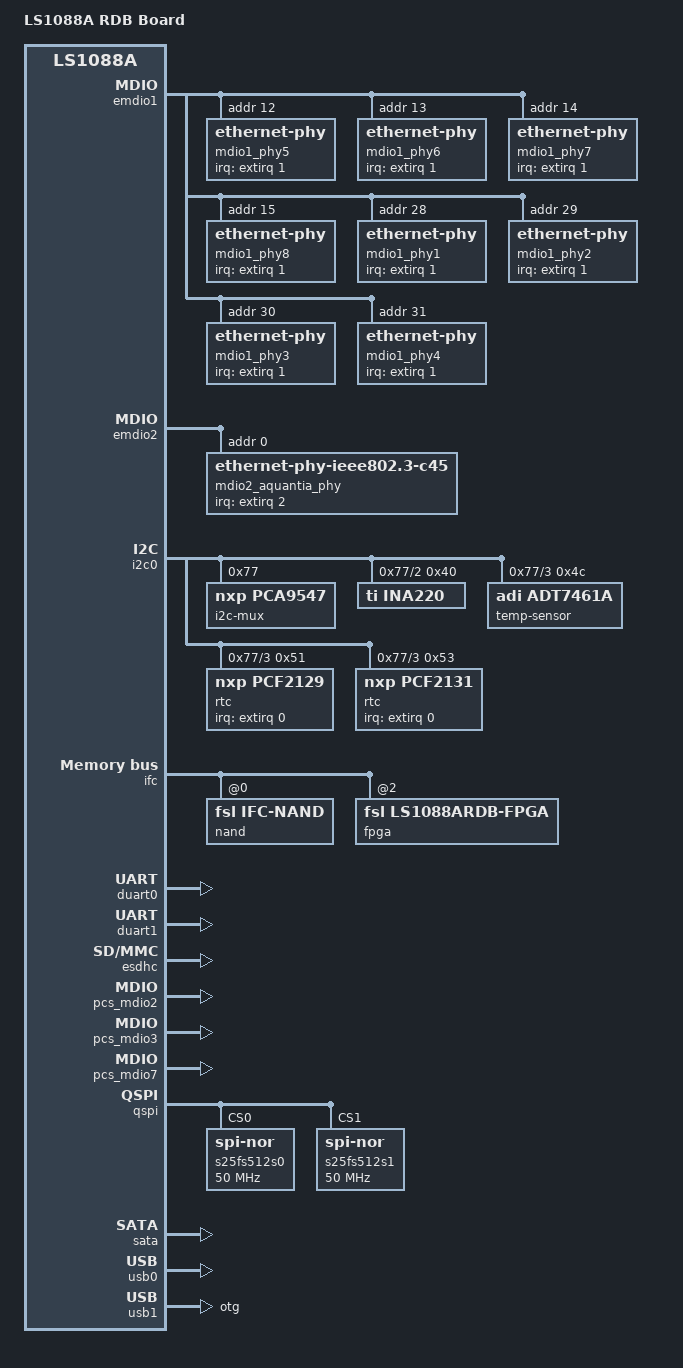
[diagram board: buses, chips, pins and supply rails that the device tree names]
// SPDX-License-Identifier: (GPL-2.0+ OR MIT)
/*
 * Device Tree file for NXP LS1088A RDB Board.
 *
 * Copyright 2017-2020 NXP
 *
 * Harninder Rai <harninder.rai@nxp.com>
 *
 */

/dts-v1/;

#include "fsl-ls1088a.dtsi"

/ {
	model = "LS1088A RDB Board";
	compatible = "fsl,ls1088a-rdb", "fsl,ls1088a";
};

&dpmac2 {
	phy-handle = <&mdio2_aquantia_phy>;
	phy-connection-type = "10gbase-r";
	pcs-handle = <&pcs2>;
};

&dpmac3 {
	phy-handle = <&mdio1_phy5>;
	phy-connection-type = "qsgmii";
	managed = "in-band-status";
	pcs-handle = <&pcs3_0>;
};

&dpmac4 {
	phy-handle = <&mdio1_phy6>;
	phy-connection-type = "qsgmii";
	managed = "in-band-status";
	pcs-handle = <&pcs3_1>;
};

&dpmac5 {
	phy-handle = <&mdio1_phy7>;
	phy-connection-type = "qsgmii";
	managed = "in-band-status";
	pcs-handle = <&pcs3_2>;
};

&dpmac6 {
	phy-handle = <&mdio1_phy8>;
	phy-connection-type = "qsgmii";
	managed = "in-band-status";
	pcs-handle = <&pcs3_3>;
};

&dpmac7 {
	phy-handle = <&mdio1_phy1>;
	phy-connection-type = "qsgmii";
	managed = "in-band-status";
	pcs-handle = <&pcs7_0>;
};

&dpmac8 {
	phy-handle = <&mdio1_phy2>;
	phy-connection-type = "qsgmii";
	managed = "in-band-status";
	pcs-handle = <&pcs7_1>;
};

&dpmac9 {
	phy-handle = <&mdio1_phy3>;
	phy-connection-type = "qsgmii";
	managed = "in-band-status";
	pcs-handle = <&pcs7_2>;
};

&dpmac10 {
	phy-handle = <&mdio1_phy4>;
	phy-connection-type = "qsgmii";
	managed = "in-band-status";
	pcs-handle = <&pcs7_3>;
};

&emdio1 {
	status = "okay";

	mdio1_phy5: ethernet-phy@c {
		interrupts-extended = <&extirq 1 IRQ_TYPE_LEVEL_LOW>;
		reg = <0xc>;
	};

	mdio1_phy6: ethernet-phy@d {
		interrupts-extended = <&extirq 1 IRQ_TYPE_LEVEL_LOW>;
		reg = <0xd>;
	};

	mdio1_phy7: ethernet-phy@e {
		interrupts-extended = <&extirq 1 IRQ_TYPE_LEVEL_LOW>;
		reg = <0xe>;
	};

	mdio1_phy8: ethernet-phy@f {
		interrupts-extended = <&extirq 1 IRQ_TYPE_LEVEL_LOW>;
		reg = <0xf>;
	};

	mdio1_phy1: ethernet-phy@1c {
		interrupts-extended = <&extirq 1 IRQ_TYPE_LEVEL_LOW>;
		reg = <0x1c>;
	};

	mdio1_phy2: ethernet-phy@1d {
		interrupts-extended = <&extirq 1 IRQ_TYPE_LEVEL_LOW>;
		reg = <0x1d>;
	};

	mdio1_phy3: ethernet-phy@1e {
		interrupts-extended = <&extirq 1 IRQ_TYPE_LEVEL_LOW>;
		reg = <0x1e>;
	};

	mdio1_phy4: ethernet-phy@1f {
		interrupts-extended = <&extirq 1 IRQ_TYPE_LEVEL_LOW>;
		reg = <0x1f>;
	};
};

&emdio2 {
	status = "okay";

	mdio2_aquantia_phy: ethernet-phy@0 {
		compatible = "ethernet-phy-ieee802.3-c45";
		interrupts-extended = <&extirq 2 IRQ_TYPE_LEVEL_LOW>;
		reg = <0x0>;
	};
};

&i2c0 {
	status = "okay";

	i2c-mux@77 {
		compatible = "nxp,pca9547";
		reg = <0x77>;
		#address-cells = <1>;
		#size-cells = <0>;

		i2c@2 {
			#address-cells = <1>;
			#size-cells = <0>;
			reg = <0x2>;

			ina220@40 {
				compatible = "ti,ina220";
				reg = <0x40>;
				shunt-resistor = <1000>;
			};
		};

		i2c@3 {
			#address-cells = <1>;
			#size-cells = <0>;
			reg = <0x3>;

			temp-sensor@4c {
				compatible = "adi,adt7461a";
				reg = <0x4c>;
			};

			rtc@51 {
				compatible = "nxp,pcf2129";
				reg = <0x51>;
				/* IRQ_RTC_B -> IRQ0_B(CPLD) -> IRQ00(CPU), active low */
				interrupts-extended = <&extirq 0 IRQ_TYPE_LEVEL_LOW>;
			};

			rtc@53 {
				compatible = "nxp,pcf2131";
				reg = <0x53>;
				/* IRQ_RTC_B -> IRQ0_B(CPLD) -> IRQ00(CPU), active low */
				interrupts-extended = <&extirq 0 IRQ_TYPE_LEVEL_LOW>;
			};
		};
	};
};

&ifc {
	ranges = <0 0 0x5 0x30000000 0x00010000
		  2 0 0x5 0x20000000 0x00010000>;
	status = "okay";

	nand@0,0 {
		compatible = "fsl,ifc-nand";
		reg = <0x0 0x0 0x10000>;
	};

	fpga: board-control@2,0 {
		compatible = "fsl,ls1088ardb-fpga", "fsl,fpga-qixis";
		reg = <0x2 0x0 0x0000100>;
	};
};

&duart0 {
	status = "okay";
};

&duart1 {
	status = "okay";
};

&esdhc {
	mmc-hs200-1_8v;
	status = "okay";
};

&pcs_mdio2 {
	status = "okay";
};

&pcs_mdio3 {
	status = "okay";
};

&pcs_mdio7 {
	status = "okay";
};

&qspi {
	status = "okay";

	s25fs512s0: flash@0 {
		compatible = "jedec,spi-nor";
		#address-cells = <1>;
		#size-cells = <1>;
		spi-max-frequency = <50000000>;
		spi-rx-bus-width = <4>;
		spi-tx-bus-width = <1>;
		reg = <0>;
	};

	s25fs512s1: flash@1 {
		compatible = "jedec,spi-nor";
		#address-cells = <1>;
		#size-cells = <1>;
		spi-max-frequency = <50000000>;
		spi-rx-bus-width = <4>;
		spi-tx-bus-width = <1>;
		reg = <1>;
	};
};

&sata {
	status = "okay";
};

&usb0 {
	status = "okay";
};

&usb1 {
	dr_mode = "otg";
	status = "okay";
};
